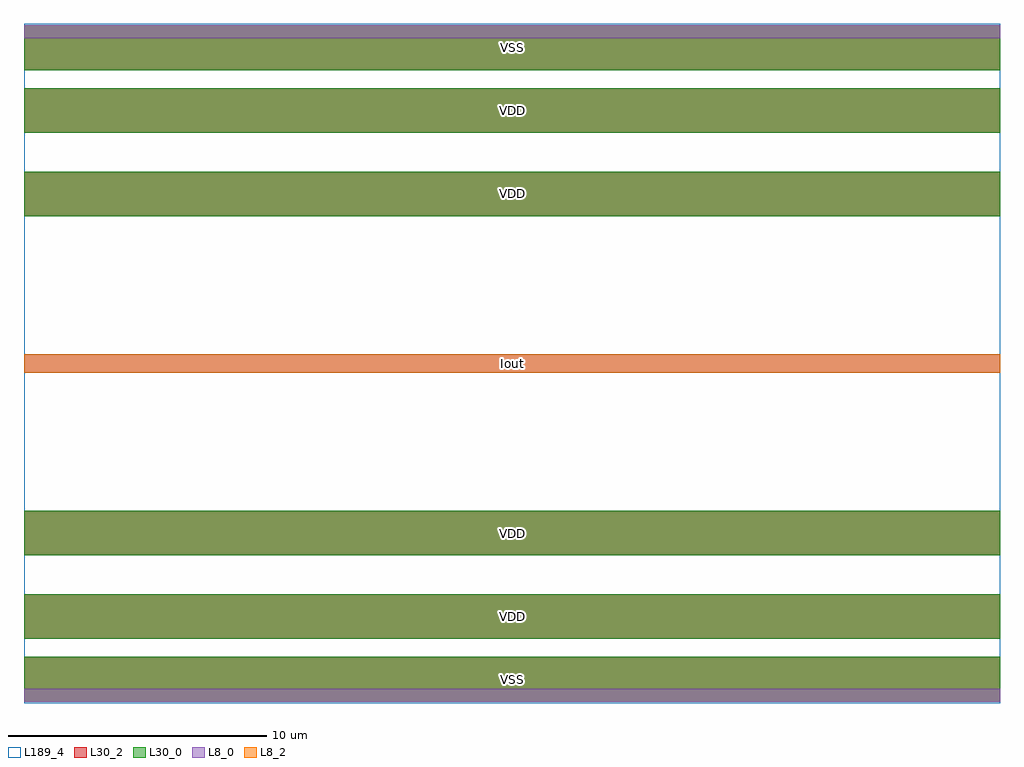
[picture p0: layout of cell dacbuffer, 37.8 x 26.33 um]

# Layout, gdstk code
import gdstk
lib = gdstk.Library(unit=1e-6, precision=1e-09)
def R(c, l, rs):  # rectangles x0, y0, x1, y1
    for r in rs: c.add(gdstk.rectangle(r[:2], r[2:], *l))
L8_0 = (8, 0)
L8_2 = (8, 2)
L30_0 = (30, 0)
L30_2 = (30, 2)
L189_4 = (189, 4)

dacbuffer = lib.new_cell('dacbuffer')
R(dacbuffer, L8_2, [(0,12.745,37.8,13.445)])
R(dacbuffer, L30_2, [(0,0,37.8,1.73), (0,2.43,37.8,4.16), (0,5.66,37.8,7.39), (0,18.8,37.8,20.53), (0,22.03,37.8,23.76), (0,24.46,37.8,26.19)])
R(dacbuffer, L189_4, [(0,-0.07,37.8,26.26)])
dacbuffer.add(gdstk.FlexPath([(0,0.25),(37.8,0.25)], 0.5, ends="flush", simple_path=True, layer=8, datatype=0))  # L8_0
dacbuffer.add(gdstk.FlexPath([(0,13.095),(37.8,13.095)], 0.7, ends="flush", simple_path=True, layer=8, datatype=0))  # L8_0
dacbuffer.add(gdstk.FlexPath([(0,25.94),(37.8,25.94)], 0.5, ends="flush", simple_path=True, layer=8, datatype=0))  # L8_0
dacbuffer.add(gdstk.FlexPath([(0,0.865),(37.8,0.865)], 1.73, ends="flush", simple_path=True, layer=30, datatype=0))  # L30_0
dacbuffer.add(gdstk.FlexPath([(0,3.295),(37.8,3.295)], 1.73, ends="flush", simple_path=True, layer=30, datatype=0))  # L30_0
dacbuffer.add(gdstk.FlexPath([(0,6.525),(37.8,6.525)], 1.73, ends="flush", simple_path=True, layer=30, datatype=0))  # L30_0
dacbuffer.add(gdstk.FlexPath([(0,19.665),(37.8,19.665)], 1.73, ends="flush", simple_path=True, layer=30, datatype=0))  # L30_0
dacbuffer.add(gdstk.FlexPath([(0,22.895),(37.8,22.895)], 1.73, ends="flush", simple_path=True, layer=30, datatype=0))  # L30_0
dacbuffer.add(gdstk.FlexPath([(0,25.325),(37.8,25.325)], 1.73, ends="flush", simple_path=True, layer=30, datatype=0))  # L30_0
dacbuffer.add(gdstk.Label('Iout', (18.9,13.095), layer=8, texttype=25))
dacbuffer.add(gdstk.Label('VSS', (18.9,0.865), layer=30, texttype=25))
dacbuffer.add(gdstk.Label('VDD', (18.9,3.295), layer=30, texttype=25))
dacbuffer.add(gdstk.Label('VDD', (18.9,6.525), layer=30, texttype=25))
dacbuffer.add(gdstk.Label('VDD', (18.9,19.665), layer=30, texttype=25))
dacbuffer.add(gdstk.Label('VDD', (18.9,22.895), layer=30, texttype=25))
dacbuffer.add(gdstk.Label('VSS', (18.9,25.325), layer=30, texttype=25))

lib.write_gds('dacbuffer.gds')
